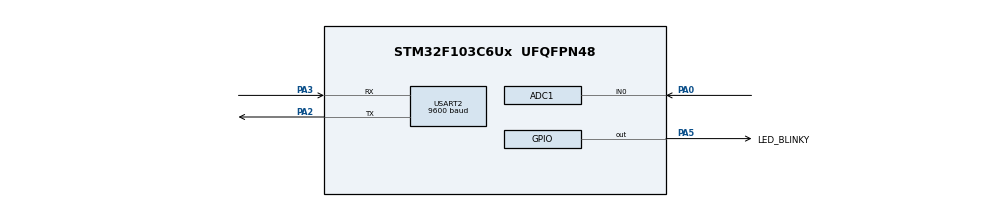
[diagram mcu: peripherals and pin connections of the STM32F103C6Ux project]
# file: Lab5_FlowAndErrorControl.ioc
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ADC1.Channel-0\#ChannelRegularConversion=ADC_CHANNEL_0
ADC1.ContinuousConvMode=ENABLE
ADC1.NbrOfConversionFlag=1
ADC1.Rank-0\#ChannelRegularConversion=1
ADC1.SamplingTime-0\#ChannelRegularConversion=ADC_SAMPLETIME_1CYCLE_5
ADC1.master=1
Mcu.Family=STM32F1
Mcu.Name=STM32F103C6Ux
Mcu.Package=UFQFPN48
NVIC.PriorityGroup=NVIC_PRIORITYGROUP_4
NVIC.TIM2_IRQn=true\:0\:0\:false\:false\:true\:true\:true
NVIC.USART2_IRQn=true\:0\:0\:false\:false\:true\:true\:true
PA0-WKUP.Signal=ADCx_IN0
PA2.Mode=Asynchronous
PA2.Signal=USART2_TX
PA3.Mode=Asynchronous
PA3.Signal=USART2_RX
PA5.GPIO_Label=LED_BLINKY
PA5.Signal=GPIO_Output
ProjectManager.HeapSize=0x200
ProjectManager.StackSize=0x400
ProjectManager.TargetToolchain=STM32CubeIDE
RCC.APB1Freq_Value=8000000
RCC.APB2Freq_Value=8000000
SH.ADCx_IN0.0=ADC1_IN0,IN0
TIM2.Period=9
TIM2.Prescaler=7999
USART2.BaudRate=9600
USART2.VirtualMode=VM_ASYNC
VP_SYS_VS_ND.Mode=No_Debug
VP_TIM2_VS_ClockSourceINT.Mode=Internal
board=custom

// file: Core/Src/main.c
/* USER CODE BEGIN Header */
/**
  ******************************************************************************
  * @file           : main.c
  * @brief          : Main program body
  ******************************************************************************
  * @attention
  *
  * <h2><center>&copy; Copyright (c) 2022 STMicroelectronics.
  * All rights reserved.</center></h2>
  *
  * This software component is licensed by ST under BSD 3-Clause license,
  * the "License"; You may not use this file except in compliance with the
  * License. You may obtain a copy of the License at:
  *                        opensource.org/licenses/BSD-3-Clause
  *
  ******************************************************************************
  */
/* USER CODE END Header */
#include "main.h"

/* USER CODE BEGIN Includes */
#include <stdio.h>
#include "uart_communication_fsm.h"
#include "command_parser_fsm.h"
#include "global.h"
/* USER CODE END Includes */

ADC_HandleTypeDef hadc1;

TIM_HandleTypeDef htim2;

UART_HandleTypeDef huart2;

void SystemClock_Config(void);
static void MX_GPIO_Init(void);
static void MX_ADC1_Init(void);
static void MX_USART2_UART_Init(void);
static void MX_TIM2_Init(void);

/* USER CODE BEGIN 0 */

uint8_t temp = 0;
uint8_t index_buffer = 0;
uint8_t buffer_flag = 0;

void HAL_UART_RxCpltCallback ( UART_HandleTypeDef * huart ) {
	if( huart->Instance == USART2 ) {
		HAL_UART_Transmit (& huart2 , & temp , 1 , 50) ;
		buffer [ index_buffer ++] = temp ;
		if( index_buffer >= MAX_BUFFER_SIZE) index_buffer = 0;
		buffer_flag = 1;
		HAL_UART_Receive_IT (& huart2 , & temp , 1) ;
	}
}
/* USER CODE END 0 */

int main(void)
{

  /* MCU Configuration--------------------------------------------------------*/

  /* Reset of all peripherals, Initializes the Flash interface and the Systick. */
  HAL_Init();

  /* Configure the system clock */
  SystemClock_Config();

  /* Initialize all configured peripherals */
  MX_GPIO_Init();
  MX_ADC1_Init();
  MX_USART2_UART_Init();
  MX_TIM2_Init();
  /* USER CODE BEGIN 2 */
  HAL_ADC_Start(&hadc1);
  HAL_UART_Receive_IT(&huart2, &temp, 1);
  /* USER CODE END 2 */

  /* Infinite loop */
  /* USER CODE BEGIN WHILE */
  while (1)
  {
	  if( buffer_flag == 1) {
		  command_parser_fsm();
		  buffer_flag = 0;
	  }
	  uart_communication_fsm();
    /* USER CODE END WHILE */

  }
}

void SystemClock_Config(void)
{
  RCC_OscInitTypeDef RCC_OscInitStruct = {0};
  RCC_ClkInitTypeDef RCC_ClkInitStruct = {0};
  RCC_PeriphCLKInitTypeDef PeriphClkInit = {0};

  /** Initializes the RCC Oscillators according to the specified parameters
  * in the RCC_OscInitTypeDef structure.
  */
  RCC_OscInitStruct.OscillatorType = RCC_OSCILLATORTYPE_HSI;
  RCC_OscInitStruct.HSIState = RCC_HSI_ON;
  RCC_OscInitStruct.HSICalibrationValue = RCC_HSICALIBRATION_DEFAULT;
  RCC_OscInitStruct.PLL.PLLState = RCC_PLL_NONE;
  if (HAL_RCC_OscConfig(&RCC_OscInitStruct) != HAL_OK)
  {
    Error_Handler();
  }
  /** Initializes the CPU, AHB and APB buses clocks
  */
  RCC_ClkInitStruct.ClockType = RCC_CLOCKTYPE_HCLK|RCC_CLOCKTYPE_SYSCLK
                              |RCC_CLOCKTYPE_PCLK1|RCC_CLOCKTYPE_PCLK2;
  RCC_ClkInitStruct.SYSCLKSource = RCC_SYSCLKSOURCE_HSI;
  RCC_ClkInitStruct.AHBCLKDivider = RCC_SYSCLK_DIV1;
  RCC_ClkInitStruct.APB1CLKDivider = RCC_HCLK_DIV1;
  RCC_ClkInitStruct.APB2CLKDivider = RCC_HCLK_DIV1;

  if (HAL_RCC_ClockConfig(&RCC_ClkInitStruct, FLASH_LATENCY_0) != HAL_OK)
  {
    Error_Handler();
  }
  PeriphClkInit.PeriphClockSelection = RCC_PERIPHCLK_ADC;
  PeriphClkInit.AdcClockSelection = RCC_ADCPCLK2_DIV2;
  if (HAL_RCCEx_PeriphCLKConfig(&PeriphClkInit) != HAL_OK)
  {
    Error_Handler();
  }
}

static void MX_ADC1_Init(void)
{

  ADC_ChannelConfTypeDef sConfig = {0};

  /** Common config
  */
  hadc1.Instance = ADC1;
  hadc1.Init.ScanConvMode = ADC_SCAN_DISABLE;
  hadc1.Init.ContinuousConvMode = ENABLE;
  hadc1.Init.DiscontinuousConvMode = DISABLE;
  hadc1.Init.ExternalTrigConv = ADC_SOFTWARE_START;
  hadc1.Init.DataAlign = ADC_DATAALIGN_RIGHT;
  hadc1.Init.NbrOfConversion = 1;
  if (HAL_ADC_Init(&hadc1) != HAL_OK)
  {
    Error_Handler();
  }
  /** Configure Regular Channel
  */
  sConfig.Channel = ADC_CHANNEL_0;
  sConfig.Rank = ADC_REGULAR_RANK_1;
  sConfig.SamplingTime = ADC_SAMPLETIME_1CYCLE_5;
  if (HAL_ADC_ConfigChannel(&hadc1, &sConfig) != HAL_OK)
  {
    Error_Handler();
  }

}

static void MX_TIM2_Init(void)
{

  TIM_ClockConfigTypeDef sClockSourceConfig = {0};
  TIM_MasterConfigTypeDef sMasterConfig = {0};

  htim2.Instance = TIM2;
  htim2.Init.Prescaler = 7999;
  htim2.Init.CounterMode = TIM_COUNTERMODE_UP;
  htim2.Init.Period = 9;
  htim2.Init.ClockDivision = TIM_CLOCKDIVISION_DIV1;
  htim2.Init.AutoReloadPreload = TIM_AUTORELOAD_PRELOAD_DISABLE;
  if (HAL_TIM_Base_Init(&htim2) != HAL_OK)
  {
    Error_Handler();
  }
  sClockSourceConfig.ClockSource = TIM_CLOCKSOURCE_INTERNAL;
  if (HAL_TIM_ConfigClockSource(&htim2, &sClockSourceConfig) != HAL_OK)
  {
    Error_Handler();
  }
  sMasterConfig.MasterOutputTrigger = TIM_TRGO_RESET;
  sMasterConfig.MasterSlaveMode = TIM_MASTERSLAVEMODE_DISABLE;
  if (HAL_TIMEx_MasterConfigSynchronization(&htim2, &sMasterConfig) != HAL_OK)
  {
    Error_Handler();
  }

}

static void MX_USART2_UART_Init(void)
{

  huart2.Instance = USART2;
  huart2.Init.BaudRate = 9600;
  huart2.Init.WordLength = UART_WORDLENGTH_8B;
  huart2.Init.StopBits = UART_STOPBITS_1;
  huart2.Init.Parity = UART_PARITY_NONE;
  huart2.Init.Mode = UART_MODE_TX_RX;
  huart2.Init.HwFlowCtl = UART_HWCONTROL_NONE;
  huart2.Init.OverSampling = UART_OVERSAMPLING_16;
  if (HAL_UART_Init(&huart2) != HAL_OK)
  {
    Error_Handler();
  }

}

static void MX_GPIO_Init(void)
{
  GPIO_InitTypeDef GPIO_InitStruct = {0};

  /* GPIO Ports Clock Enable */
  __HAL_RCC_GPIOA_CLK_ENABLE();

  /*Configure GPIO pin Output Level */
  HAL_GPIO_WritePin(LED_BLINKY_GPIO_Port, LED_BLINKY_Pin, GPIO_PIN_RESET);

  /*Configure GPIO pin : LED_BLINKY_Pin */
  GPIO_InitStruct.Pin = LED_BLINKY_Pin;
  GPIO_InitStruct.Mode = GPIO_MODE_OUTPUT_PP;
  GPIO_InitStruct.Pull = GPIO_NOPULL;
  GPIO_InitStruct.Speed = GPIO_SPEED_FREQ_LOW;
  HAL_GPIO_Init(LED_BLINKY_GPIO_Port, &GPIO_InitStruct);

}

/* USER CODE BEGIN 4 */
void HAL_TIM_PeriodElapsedCallback (TIM_HandleTypeDef * htim)
{
	timerRun();
}
/* USER CODE END 4 */

void Error_Handler(void)
{
  __disable_irq();
  while (1)
  {
  }
}

/************************ (C) COPYRIGHT STMicroelectronics *****END OF FILE****/
